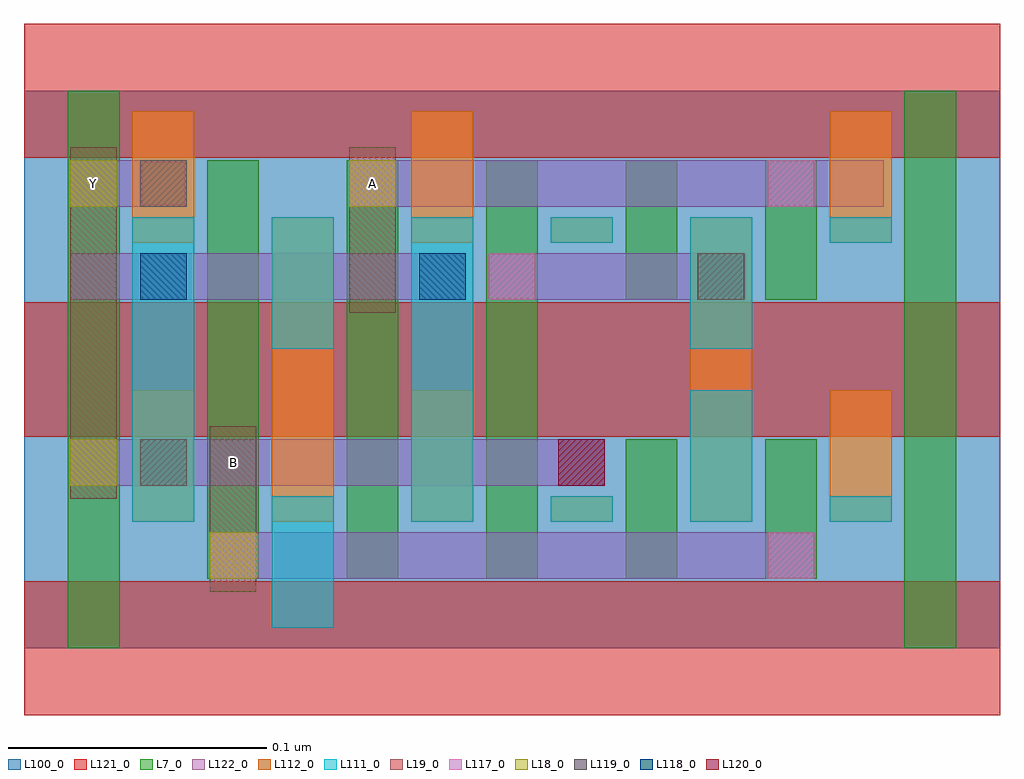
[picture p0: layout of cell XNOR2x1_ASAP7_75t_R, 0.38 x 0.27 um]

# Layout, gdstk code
import gdstk
lib = gdstk.Library(unit=1e-6, precision=2.5e-10)
def R(c, l, rs):  # rectangles x0, y0, x1, y1
    for r in rs: c.add(gdstk.rectangle(r[:2], r[2:], *l))
def A(c, l, x, y, w, h, nx, ny, dx, dy):  # array of equal rectangles
    R(c, l, [(x+i*dx, y+j*dy, x+i*dx+w, y+j*dy+h) for i in range(nx) for j in range(ny)])
L7_0 = (7, 0)
L18_0 = (18, 0)
L19_0 = (19, 0)
L100_0 = (100, 0)
L111_0 = (111, 0)
L112_0 = (112, 0)
L117_0 = (117, 0)
L118_0 = (118, 0)
L119_0 = (119, 0)
L120_0 = (120, 0)
L121_0 = (121, 0)
L122_0 = (122, 0)

xnor2x1_asap7_75t_r = lib.new_cell('XNOR2x1_ASAP7_75t_R')
A(xnor2x1_asap7_75t_r, L7_0, 0.071, 0.027, 0.02, 0.081, 3, 2, 0.054, 0.081)
R(xnor2x1_asap7_75t_r, L7_0, [(0.017,0,0.037,0.108), (0.341,0,0.361,0.108), (0.233,0.027,0.253,0.081), (0.287,0.027,0.307,0.081), (0.017,0.108,0.037,0.216), (0.341,0.108,0.361,0.216), (0.233,0.135,0.253,0.189), (0.287,0.135,0.307,0.189)])
R(xnor2x1_asap7_75t_r, L18_0, [(0.072,0.027,0.09,0.045), (0.018,0.063,0.036,0.081), (0.018,0.171,0.036,0.189), (0.126,0.171,0.144,0.189)])
R(xnor2x1_asap7_75t_r, L19_0, [(0.072,0.022,0.09,0.086), (0.018,0.058,0.036,0.194), (0.126,0.13,0.144,0.194)])
R(xnor2x1_asap7_75t_r, L100_0, [(0,0,0.378,0.216)])
R(xnor2x1_asap7_75t_r, L111_0, [(0.096,0.008,0.12,0.059), (0.042,0.049,0.066,0.108), (0.15,0.049,0.174,0.108), (0.204,0.049,0.228,0.059), (0.258,0.049,0.282,0.1), (0.312,0.049,0.336,0.059), (0.042,0.108,0.066,0.167), (0.15,0.108,0.174,0.167), (0.096,0.116,0.12,0.167), (0.258,0.116,0.282,0.167), (0.204,0.157,0.228,0.167), (0.312,0.157,0.336,0.167)])
R(xnor2x1_asap7_75t_r, L112_0, [(0.042,0.049,0.066,0.1), (0.096,0.049,0.12,0.108), (0.15,0.049,0.174,0.1), (0.204,0.049,0.228,0.059), (0.258,0.049,0.282,0.108), (0.312,0.049,0.336,0.1), (0.096,0.108,0.12,0.167), (0.258,0.108,0.282,0.167), (0.042,0.157,0.066,0.208), (0.15,0.157,0.174,0.208), (0.204,0.157,0.228,0.167), (0.312,0.157,0.336,0.208)])
R(xnor2x1_asap7_75t_r, L117_0, [(0.072,0.027,0.09,0.045), (0.288,0.027,0.306,0.045), (0.18,0.135,0.198,0.153), (0.126,0.171,0.144,0.189), (0.288,0.171,0.306,0.189)])
R(xnor2x1_asap7_75t_r, L118_0, [(0.045,0.135,0.063,0.153), (0.153,0.135,0.171,0.153)])
R(xnor2x1_asap7_75t_r, L119_0, [(0.045,0.063,0.063,0.081), (0.207,0.063,0.225,0.081), (0.261,0.135,0.279,0.153), (0.045,0.171,0.063,0.189)])
R(xnor2x1_asap7_75t_r, L120_0, [(0.207,0.063,0.225,0.081)])
A(xnor2x1_asap7_75t_r, L121_0, 0, -0.026, 0.378, 0.052, 1, 3, 0, 0.108)
R(xnor2x1_asap7_75t_r, L122_0, [(0.072,0.027,0.306,0.045), (0.018,0.063,0.225,0.081), (0.018,0.135,0.171,0.153), (0.18,0.135,0.279,0.153), (0.018,0.171,0.063,0.189), (0.126,0.171,0.333,0.189)])
xnor2x1_asap7_75t_r.add(gdstk.Label('Y', (0.027,0.18), layer=19, texttype=251))
xnor2x1_asap7_75t_r.add(gdstk.Label('B', (0.081,0.072), layer=19, texttype=251))
xnor2x1_asap7_75t_r.add(gdstk.Label('A', (0.135,0.18), layer=19, texttype=251))

lib.write_gds('XNOR2x1_ASAP7_75t_R.gds')
